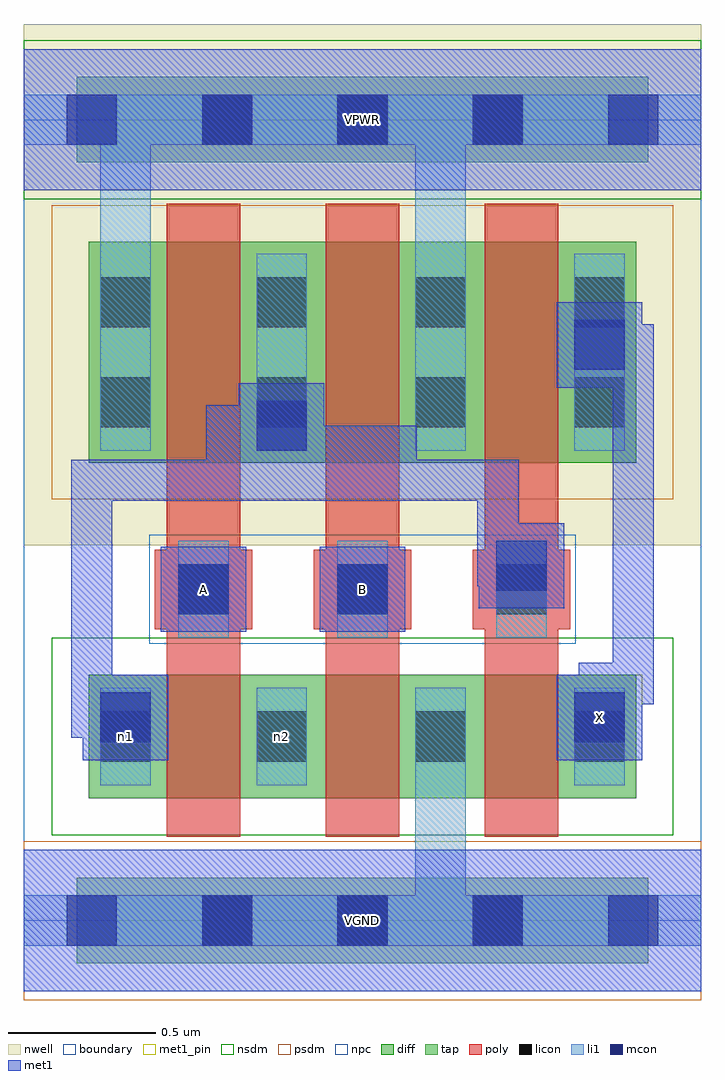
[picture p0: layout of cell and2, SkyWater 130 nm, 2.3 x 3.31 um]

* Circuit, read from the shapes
.subckt and2 A B VGND VPWR X n1 n2
XM1 n2 A n1 VGND sky130_fd_pr__nfet_01v8 w=0.42 l=0.25
XM2 VGND B n2 VGND sky130_fd_pr__nfet_01v8 w=0.42 l=0.25
XM3 X n1 VGND VGND sky130_fd_pr__nfet_01v8 w=0.42 l=0.25
XM4 n1 A VPWR VPWR sky130_fd_pr__pfet_01v8 w=0.75 l=0.25
XM5 VPWR B n1 VPWR sky130_fd_pr__pfet_01v8 w=0.75 l=0.25
XM6 X n1 VPWR VPWR sky130_fd_pr__pfet_01v8 w=0.75 l=0.25
.ends

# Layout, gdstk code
import gdstk
lib = gdstk.Library(unit=1e-6, precision=1e-09)
def R(c, l, rs):  # rectangles x0, y0, x1, y1
    for r in rs: c.add(gdstk.rectangle(r[:2], r[2:], *l))
def A(c, l, x, y, w, h, nx, ny, dx, dy):  # array of equal rectangles
    R(c, l, [(x+i*dx, y+j*dy, x+i*dx+w, y+j*dy+h) for i in range(nx) for j in range(ny)])
nwell = (64, 20)
diff = (65, 20)
tap = (65, 44)
poly = (66, 20)
licon = (66, 44)
li1 = (67, 20)
mcon = (67, 44)
met1_pin = (68, 16)
met1 = (68, 20)
nsdm = (93, 44)
psdm = (94, 20)
npc = (95, 20)
boundary = (235, 4)

and2 = lib.new_cell('and2')
R(and2, nwell, [(0,1.275,2.3,3.045)])
R(and2, diff, [(0.22,0.415,2.08,0.835), (0.22,1.555,2.08,2.305)])
R(and2, tap, [(0.18,-0.145,2.12,0.145), (0.18,2.575,2.12,2.865)])
A(and2, poly, 0.485, 0.285, 0.25, 2.15, 3, 1, 0.54, 0)
A(and2, poly, 0.445, 0.99, 0.33, 0.27, 3, 1, 0.54, 0)
A(and2, licon, 0.605, -0.085, 0.17, 0.17, 3, 2, 0.46, 2.72)
A(and2, licon, 0.79, 0.54, 0.17, 0.17, 3, 2, 0.54, 1.135)
A(and2, licon, 0.525, 1.04, 0.17, 0.17, 3, 1, 0.54, 0)
A(and2, licon, 0.79, 2.015, 0.17, 0.17, 3, 1, 0.54, 0)
R(and2, licon, [(0.26,0.54,0.43,0.71), (0.26,1.675,0.43,1.845), (0.26,2.015,0.43,2.185)])
A(and2, li1, 0.79, 0.46, 0.17, 0.33, 3, 1, 0.54, 0)
A(and2, li1, 0.525, 0.96, 0.17, 0.33, 3, 1, 0.54, 0)
A(and2, li1, 0.79, 1.595, 0.17, 0.67, 3, 1, 0.54, 0)
R(and2, li1, [(0,-0.085,2.3,0.085), (1.33,-0.085,1.5,0.79), (0.26,0.46,0.43,0.79), (0.26,1.595,0.43,2.265), (0.26,1.595,0.43,2.805), (1.33,1.595,1.5,2.805), (0,2.635,2.3,2.805)])
A(and2, mcon, 0.145, -0.085, 0.17, 0.17, 5, 2, 0.46, 2.72)
R(and2, mcon, [(0.26,0.605,0.43,0.775), (1.87,0.605,2.04,0.775), (0.525,1.04,0.695,1.21), (1.065,1.04,1.235,1.21), (1.605,1.12,1.775,1.29), (0.79,1.595,0.96,1.765), (1.87,1.87,2.04,2.04)])
R(and2, met1_pin, [(0,-0.24,2.3,0.24), (1.81,0.545,2.1,0.835), (0.465,0.98,0.755,1.27), (1.005,0.98,1.295,1.27), (0,2.48,2.3,2.96)])
R(and2, met1, [(0,-0.24,2.3,0.24), (0.2,0.545,0.49,0.835), (1.81,0.545,2.1,0.835), (0.16,0.62,0.415,0.76), (0.16,0.62,0.3,1.565), (1.885,0.62,2.025,0.875), (1.885,0.735,2.14,0.875), (2,0.735,2.14,2.025), (0.465,0.98,0.755,1.27), (1.005,0.98,1.295,1.27), (1.545,1.06,1.835,1.35), (1.54,1.135,1.76,1.275), (1.54,1.135,1.68,1.45), (1.54,1.31,1.68,1.565), (0.16,1.425,0.76,1.565), (0.62,1.425,0.76,1.75), (0.62,1.425,1.105,1.565), (0.965,1.425,1.105,1.68), (1.105,1.425,1.195,1.565), (1.105,1.425,1.195,1.68), (1.195,1.425,1.68,1.565), (1.195,1.425,1.335,1.68), (0.73,1.535,1.02,1.825), (0.965,1.54,1.335,1.68), (0.62,1.565,0.945,1.61), (0.62,1.61,0.945,1.75), (1.81,1.81,2.1,2.1), (1.885,1.885,2.14,2.025), (0,2.48,2.3,2.96)])
R(and2, nsdm, [(0.095,0.29,2.205,0.96), (0,2.45,2.3,2.99)])
R(and2, psdm, [(0,-0.27,2.3,0.27), (0.095,1.43,2.205,2.43)])
R(and2, npc, [(0.425,0.94,1.875,1.31)])
R(and2, boundary, [(0,0,2.3,2.72)])
and2.add(gdstk.Label('n1', (0.345,0.625), layer=67, texttype=5))
and2.add(gdstk.Label('n2', (0.875,0.625), layer=67, texttype=5))
and2.add(gdstk.Label('A', (0.61,1.125), layer=68, texttype=5))
and2.add(gdstk.Label('B', (1.15,1.125), layer=68, texttype=5))
and2.add(gdstk.Label('X', (1.955,0.69), layer=68, texttype=5))
and2.add(gdstk.Label('VPWR', (1.15,2.72), layer=68, texttype=5))
and2.add(gdstk.Label('VGND', (1.15,0), layer=68, texttype=5))
and2.add(gdstk.Label('A', (0.61,1.125), layer=68, texttype=16))
and2.add(gdstk.Label('B', (1.15,1.125), layer=68, texttype=16))
and2.add(gdstk.Label('X', (1.955,0.69), layer=68, texttype=16))
and2.add(gdstk.Label('VPWR', (1.15,2.72), layer=68, texttype=16))
and2.add(gdstk.Label('VGND', (1.15,0), layer=68, texttype=16))

lib.write_gds('and2.gds')
